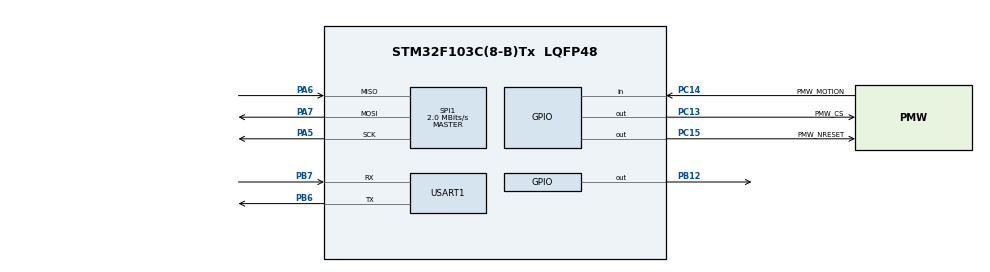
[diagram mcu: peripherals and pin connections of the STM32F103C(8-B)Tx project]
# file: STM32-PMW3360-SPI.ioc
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Dma.MEMTOMEM.0.Direction=DMA_MEMORY_TO_MEMORY
Dma.MEMTOMEM.0.Instance=DMA1_Channel1
Dma.MEMTOMEM.0.MemDataAlignment=DMA_MDATAALIGN_BYTE
Dma.MEMTOMEM.0.MemInc=DMA_MINC_ENABLE
Dma.MEMTOMEM.0.Mode=DMA_NORMAL
Dma.MEMTOMEM.0.PeriphDataAlignment=DMA_PDATAALIGN_BYTE
Dma.MEMTOMEM.0.PeriphInc=DMA_PINC_ENABLE
Dma.MEMTOMEM.0.Priority=DMA_PRIORITY_LOW
Dma.MEMTOMEM.1.Direction=DMA_MEMORY_TO_MEMORY
Dma.MEMTOMEM.1.Instance=DMA1_Channel2
Dma.MEMTOMEM.1.MemDataAlignment=DMA_MDATAALIGN_BYTE
Dma.MEMTOMEM.1.MemInc=DMA_MINC_ENABLE
Dma.MEMTOMEM.1.Mode=DMA_NORMAL
Dma.MEMTOMEM.1.PeriphDataAlignment=DMA_PDATAALIGN_BYTE
Dma.MEMTOMEM.1.PeriphInc=DMA_PINC_ENABLE
Dma.MEMTOMEM.1.Priority=DMA_PRIORITY_LOW
Dma.Request0=MEMTOMEM
Dma.Request1=MEMTOMEM
Mcu.Family=STM32F1
Mcu.Name=STM32F103C(8-B)Tx
Mcu.Package=LQFP48
NVIC.PriorityGroup=NVIC_PRIORITYGROUP_4
PA13.Mode=Trace_Asynchronous_SW
PA13.Signal=SYS_JTMS-SWDIO
PA14.Mode=Trace_Asynchronous_SW
PA14.Signal=SYS_JTCK-SWCLK
PA5.Mode=Full_Duplex_Master
PA5.Signal=SPI1_SCK
PA6.Mode=Full_Duplex_Master
PA6.Signal=SPI1_MISO
PA7.Mode=Full_Duplex_Master
PA7.Signal=SPI1_MOSI
PB12.Signal=GPIO_Output
PB3.Mode=Trace_Asynchronous_SW
PB3.Signal=SYS_JTDO-TRACESWO
PB6.Mode=Asynchronous
PB6.Signal=USART1_TX
PB7.Mode=Asynchronous
PB7.Signal=USART1_RX
PC13-TAMPER-RTC.GPIO_Label=PMW_CS
PC13-TAMPER-RTC.GPIO_ModeDefaultOutputPP=GPIO_MODE_OUTPUT_OD
PC13-TAMPER-RTC.GPIO_PuPd=GPIO_PULLUP
PC13-TAMPER-RTC.GPIO_Speed=GPIO_SPEED_FREQ_LOW
PC13-TAMPER-RTC.PinState=GPIO_PIN_SET
PC13-TAMPER-RTC.Signal=GPIO_Output
PC14-OSC32_IN.GPIO_Label=PMW_MOTION
PC14-OSC32_IN.Signal=GPIO_Input
PC15-OSC32_OUT.GPIO_Label=PMW_NRESET
PC15-OSC32_OUT.PinState=GPIO_PIN_SET
PC15-OSC32_OUT.Signal=GPIO_Output
PD0-OSC_IN.Mode=HSE-External-Oscillator
PD0-OSC_IN.Signal=RCC_OSC_IN
PD1-OSC_OUT.Mode=HSE-External-Oscillator
PD1-OSC_OUT.Signal=RCC_OSC_OUT
ProjectManager.HeapSize=0x200
ProjectManager.StackSize=0x400
ProjectManager.TargetToolchain=STM32CubeIDE
RCC.APB1Freq_Value=8000000
RCC.APB2Freq_Value=8000000
SPI1.BaudRatePrescaler=SPI_BAUDRATEPRESCALER_4
SPI1.CLKPhase=SPI_PHASE_2EDGE
SPI1.CLKPolarity=SPI_POLARITY_HIGH
SPI1.CalculateBaudRate=2.0 MBits/s
SPI1.Direction=SPI_DIRECTION_2LINES
SPI1.Mode=SPI_MODE_MASTER
SPI1.VirtualType=VM_MASTER
USART1.VirtualMode=VM_ASYNC
board=custom

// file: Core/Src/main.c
/* USER CODE BEGIN Header */
/**
  ******************************************************************************
  * @file           : main.c
  * @brief          : Main program body
  ******************************************************************************
  * @attention
  *
  * Copyright (c) 2023 STMicroelectronics.
  * All rights reserved.
  *
  * This software is licensed under terms that can be found in the LICENSE file
  * in the root directory of this software component.
  * If no LICENSE file comes with this software, it is provided AS-IS.
  *
  ******************************************************************************
  */
/* USER CODE END Header */
#include "main.h"
#include "dma.h"
#include "spi.h"
#include "usart.h"
#include "gpio.h"

/* USER CODE BEGIN Includes */
#include "stm32f1xx_hal.h"
#include "stm32f1xx_hal_spi.h"
#include "stm32f1xx_ll_spi.h"
#include "spi.h"
#include "usart.h"

#include <stdio.h>

#include "sensors/pmw3360.h"
#include "sensors/srom_3360_0x04.h"
/* USER CODE END Includes */

/* USER CODE BEGIN PD */

static void pmw3360_init(const uint8_t dpi);
static void angle_init(const uint8_t angle);
static inline void spi_write(const unsigned char addr, const unsigned char data);
static inline const unsigned char spi_read(const unsigned char addr);
unsigned char SPI_Send(unsigned char Txdata);
static uint8_t spi_transmit_receive(uint8_t data_in, uint8_t *data_out);
void HAL_Delay_us(__IO uint32_t delay_us);

#define SS_LOW HAL_GPIO_WritePin(PMW_CS_GPIO_Port, PMW_CS_Pin, GPIO_PIN_RESET);
#define SS_HIGH HAL_GPIO_WritePin(PMW_CS_GPIO_Port, PMW_CS_Pin, GPIO_PIN_SET);

#define CPI_Page_Address 0x08007000
#define Polling_Skip_Page_Address 0x08007400
/* USER CODE END PD */

/* USER CODE BEGIN PV */
static unsigned char old_profile;

// use this instead of bitshifts or LSB/MSB macros.
union motion_data
{
	int16_t sum;
	struct { uint8_t low, high; };
};
union motion_data x, y;
int8_t whl;

/* USER CODE END PV */

void SystemClock_Config(void);
/* USER CODE BEGIN PFP */

/**
  * @brief System Clock Configuration
  * @retval None
  */
void SystemClock_Config(void)
{
  RCC_OscInitTypeDef RCC_OscInitStruct = {0};
  RCC_ClkInitTypeDef RCC_ClkInitStruct = {0};

  /** Initializes the RCC Oscillators according to the specified parameters
  * in the RCC_OscInitTypeDef structure.
  */
  RCC_OscInitStruct.OscillatorType = RCC_OSCILLATORTYPE_HSI;
  RCC_OscInitStruct.HSIState = RCC_HSI_ON;
  RCC_OscInitStruct.HSICalibrationValue = RCC_HSICALIBRATION_DEFAULT;
  RCC_OscInitStruct.PLL.PLLState = RCC_PLL_NONE;
  if (HAL_RCC_OscConfig(&RCC_OscInitStruct) != HAL_OK)
  {
    Error_Handler();
  }

  /** Initializes the CPU, AHB and APB buses clocks
  */
  RCC_ClkInitStruct.ClockType = RCC_CLOCKTYPE_HCLK|RCC_CLOCKTYPE_SYSCLK
                              |RCC_CLOCKTYPE_PCLK1|RCC_CLOCKTYPE_PCLK2;
  RCC_ClkInitStruct.SYSCLKSource = RCC_SYSCLKSOURCE_HSI;
  RCC_ClkInitStruct.AHBCLKDivider = RCC_SYSCLK_DIV1;
  RCC_ClkInitStruct.APB1CLKDivider = RCC_HCLK_DIV1;
  RCC_ClkInitStruct.APB2CLKDivider = RCC_HCLK_DIV1;

  if (HAL_RCC_ClockConfig(&RCC_ClkInitStruct, FLASH_LATENCY_0) != HAL_OK)
  {
    Error_Handler();
  }
}

//SPI_HandleTypeDef hspi1; // for HAL SPI lib

/* USER CODE END PFP */

/* USER CODE BEGIN 0 */
void sensor_config(void) // Sensor Power-up configure
{
  // dpi settings CPI/CPI
	uint8_t dpi;

//	old_profile = ((*(__IO uint16_t*)(0x08007000)) < 0xFF) ? *(__IO uint16_t*)(0x08007000) : 0x01;
//	if (old_profile == 0x00)
		dpi = 0x03;// dpi = (1 + i) * 100
//	if (old_profile == 0x01)
//		dpi = 0x07;// dpi = (1 + i) * 100
//	if (old_profile == 0x02)
//		dpi = 0x0f;// dpi = (1 + i) * 100

  // Init 3360
  pmw3360_init(dpi);

  // Angle snapping settings // turn off thx.
  uint8_t angle_index = 0;
  uint8_t angles[] = {0x00, 0x80}; // Off, On
  // Init angle snapping
  angle_init(angles[angle_index]);
}

void burst_read(void)	// read sensor move
{
		union motion_data delta_x, delta_y;
		SS_LOW;// step 1: low NCS/SS/CS Signal
		SPI_Send(0x50); // step 2: send Motion regsiter addr: 0x50.
    HAL_Delay_us(35); //step 4: wait Tsard_motbr.

		// at here send any vule to sensor reg
		(void) SPI_Send(0x00); // motion, not used
		(void) SPI_Send(0x00); // observation, not used
//    int motion = (SPI_Send(0x00); & 0x80) > 0;
//    int surface = (SPI_Send(0x00); & 0x08) > 0;   // 0 if on surface / 1 if off surface

		delta_x.low=SPI_Send(0x00);
		delta_x.high=SPI_Send(0x00);
		delta_y.low=SPI_Send(0x00);
		delta_y.high=SPI_Send(0x00);

//    int squal = SPI_Send(0x00);
		SS_HIGH;
    HAL_Delay_us(1); // pulling high at lest 500ns

		x.sum += delta_x.sum;
		y.sum += delta_y.sum;

		printf("X: %5d.%5d - Y: %5d\n", delta_x.high, delta_x.low, delta_y);
}

uint8_t read_byte(uint8_t reg)
{
	// Enable Chip select
	SS_LOW;

	uint8_t wr_buffer = reg & 0x7f; // Cmd to send
	uint8_t rd_buffer;

	HAL_SPI_Transmit(&hspi1, &wr_buffer, 1, 1000);

	HAL_Delay_us(200);

	HAL_SPI_Receive(&hspi1, &rd_buffer, 1, 1000);

	HAL_Delay_us(120);

	// Disable Chip select
	SS_HIGH;
//	HAL_Delay(200);

	//	printf("Reading reg: 0x%02x - 0x%02x\n", reg, rd_buffer);
	return rd_buffer;
}

void write_byte(uint8_t reg, uint8_t data)
{
//	printf("Writing reg: 0x%02x - 0x%02x\n", reg, data);

	// Enable Chip select
	SS_LOW;

	uint8_t wr_buffer = reg | 0x80; // Cmd to send
	uint8_t data_buffer = data;

	HAL_SPI_Transmit(&hspi1, &wr_buffer, 1, 1000);
	HAL_SPI_Transmit(&hspi1, &data_buffer, 1, 1000);

	HAL_Delay_us(35);

	// Disable Chip select
	SS_HIGH;
//	HAL_Delay(200);
}

uint8_t test_spi_comms()
{
	uint8_t connected = 0;

	// Read IC ID
	uint8_t id = read_byte(REG_Product_ID);
	uint8_t rid = read_byte(REG_Revision_ID);

	printf("ID: 0x%02x\n", id);
	printf("rID: 0x%02x\n", rid);
	return id == 0x42;
}

void read_data()
{
	// Read IC ID
//	uint8_t id = read_byte(REG_Product_ID);
//	uint8_t rid = read_byte(REG_Revision_ID);
//	printf("ID: 0x%02x\n", id);
//	printf("rID: 0x%02x\n", rid);

	uint8_t motion = read_byte(REG_Motion);
//	printf("Motion: 0x%02x\n", motion);
//	uint8_t squal = read_byte(REG_SQUAL);
//	printf("SQUAL: 0x%02x\n", squal);

	if (motion & 0x80) // Motion detected
	{
		uint8_t delta_x_l = read_byte(REG_Delta_X_H);
		uint8_t delta_x_h = read_byte(REG_Delta_X_L);
		uint8_t delta_y_l = read_byte(REG_Delta_Y_H);
		uint8_t delta_y_h = read_byte(REG_Delta_Y_L);
		x.high = delta_x_h;
		x.low  = delta_x_l;
		y.high = delta_y_h;
		y.low  = delta_y_l;
//		printf("Motion detected: 0x%02x.%02x - 0x%02x.%02x\n", delta_x_h, delta_x_l, delta_y_h, delta_y_l);
//		printf("Motion detected: %d - %d\n", x.sum, y.sum);
	}
	else
	{
		x.sum = 0;
		y.sum = 0;
	}
}

void calc_position()
{
	static int32_t X_POS = 0, Y_POS = 0;

	X_POS += x.sum;
	Y_POS += y.sum;

	printf("Current POS: %5d - %5d\n", X_POS, Y_POS);
}
/* USER CODE END 0 */

int main(void)
{

  /* MCU Configuration--------------------------------------------------------*/

  /* Reset of all peripherals, Initializes the Flash interface and the Systick. */
  HAL_Init();

  /* Configure the system clock */
  SystemClock_Config();

  /* Initialize all configured peripherals */
  MX_DMA_Init();
  MX_GPIO_Init();
  MX_SPI1_Init();
  MX_USART1_UART_Init();
  /* USER CODE BEGIN 2 */
	printf("Testing download Mouse code!\n");

	uint8_t connection = test_spi_comms();
	printf("Has connection? %d\n", connection);
//	while(1);

	// PMW3360 Initial profile
	sensor_config();

	connection = test_spi_comms();
	printf("Has connection? %d\n", connection);

  /* USER CODE END 2 */

  /* Infinite loop */
  /* USER CODE BEGIN WHILE */
  while (1)
  {
	  write_byte(REG_Motion, 0x00);
//	  HAL_Delay(10);
	  read_data();

	  calc_position();
//	  HAL_Delay(10);
    /* USER CODE END WHILE */

  }
}

/* USER CODE BEGIN 4 */

/*************** PMW3360-DM Sensor Initialization ***************/

// dpi argument is what's written to register 0x0f
// actual dpi value = (dpi + 1) * 100
static void pmw3360_init(const uint8_t dpi)
{
  SS_HIGH;
  HAL_Delay(3);

  SS_LOW;
  spi_write(0x3b, 0xb6);
	SS_HIGH;
  HAL_Delay(300);  // when power up shut down 300ms

  // drop and raise ncs to reset spi port
  SS_LOW;
  HAL_Delay_us(40);
	SS_HIGH;
  HAL_Delay_us(40);

	// power up reset
  SS_LOW;
  spi_write(0x3a, 0x5a);
	SS_HIGH;
  HAL_Delay(50);

  // read from 0x02 to 0x06
  SS_LOW;
  spi_read(0x02); //Motion
  spi_read(0x03); //X_lo
  spi_read(0x04); //X_Hi
  spi_read(0x05); //Y_Lo
  spi_read(0x06); //Y_Hi

  // srom download
  spi_write(0x10, 0x00);
  spi_write(0x13, 0x1d);
  SS_HIGH;
  HAL_Delay(10);
  SS_LOW;
  spi_write(0x13, 0x18);

  SPI_Send(0x62 | 0x80);
  for (uint16_t i = 0; i < SROM_LENGTH; i++)
  {
    HAL_Delay_us(16);
    SPI_Send(srom[i]);
  }
  HAL_Delay_us(18);
  SS_HIGH;
  HAL_Delay_us(200);

  // configuration/settings
  SS_LOW;
  spi_write(0x10, 0x00); // Rest mode & independant X/Y CPI disabled
  spi_write(0x0d, 0x00); // Camera angle
  spi_write(0x11, 0x00); // Camera angle fine tuning
  spi_write(0x0f, dpi); // DPI
  // LOD Stuff
  spi_write(0x63, 0x03); // LOD: 0x00 disable lift detection, 0x02 = 2mm, 0x03 = 3mm
  spi_write(0x2b, 0x80); // Minimum SQUAL for zero motion data (default: 0x10)��max is 0x80
  spi_write(0x2c, 0x0a); // Minimum Valid features (reduce SQUAL score) (default: 0x0a)
  SS_HIGH;
  HAL_Delay_us(200);
}

// angle snapping
static void angle_init(const uint8_t angle)
{
  SS_LOW;
  spi_write(0x42, angle); // Angle snapping (Angle snap disabled. This is the default value.): 0x00 = off, 0x80 = on
  SS_HIGH;
}

void HAL_Delay_us(__IO uint32_t delay_us)
{
  uint32_t first_value = 0;
  uint32_t current_value = 0;
  uint32_t reload = SysTick ->LOAD;

  uint32_t nus_number = delay_us * ((reload + 1) / 1000);
  uint32_t change_number = 0;

  first_value = SysTick ->VAL;
  while (1)
  {
    current_value = SysTick ->VAL;
    if (current_value != first_value)
    {

      if (current_value < first_value)
      {
        change_number += first_value - current_value;
        //change_number = first_value - current_value + change_number;
      }

      else
      {
        change_number += reload - current_value + first_value;
      }
      first_value = current_value;
      if (change_number >= nus_number)
      {
        break;
      }
    }
  }
}

//SPI Read sensor.
static inline void spi_write(const unsigned char addr, const unsigned char data)
{
  SPI_Send(addr | 0x80);
  SPI_Send(data);
  HAL_Delay_us(180); // maximum of t_SWW, t_SWR
}

static inline  const unsigned char spi_read(const unsigned char addr)
{
  SPI_Send(addr);
	HAL_Delay_us(160); // t_SRAD
  uint8_t data = SPI_Send(0x00);
  HAL_Delay_us(20);
  return data;
}

// SPI latency depends on your circuit layout and code.
unsigned char SPI_Send(unsigned char Txdata)
{
	/*
	1. Data into Buffer.
	1. Transmit data to PMW3360.
	2. Return Receive data from Inbox.
	*/

	uint8_t Rxdata;
	spi_transmit_receive(Txdata,&Rxdata);
//	Rxdata = SPI1_ReadWriteByte(Txdata);
	return Rxdata;
}
// data_in:data for transfer
// data_out: receive data
static uint8_t spi_transmit_receive(uint8_t data_in, uint8_t *data_out)
{
	uint32_t timeout_cnt;

	// Wait until TXE flag is set to send data
	timeout_cnt = 0;
	static const uint32_t timeout_cnt_num_send = 100;
	// Tx buffer not empty set 0;

	while(!LL_SPI_IsActiveFlag_TXE(SPI1))	//Tx�ǿգ�������
	{
		timeout_cnt ++;
		// Tx buffer empty set 1;
		if((timeout_cnt > timeout_cnt_num_send)||(LL_SPI_IsActiveFlag_TXE(SPI1)))	//Tx�գ�������
		{
			break;
		}
	}

	// Transmit data in 8 Bit mode
	LL_SPI_TransmitData8(SPI1, data_in);

	// Check BSY flag
	timeout_cnt = 0;
	static const uint32_t timeout_cnt_num_busy = 50;

	// SPI_Busy set 1
	while(LL_SPI_IsActiveFlag_BSY(SPI1))	// SPI_Busy
	{
		timeout_cnt ++;
        // SPI_Not_Busy set 0
		if((timeout_cnt > timeout_cnt_num_busy)||(!LL_SPI_IsActiveFlag_BSY(SPI1))) // SPI_Not_Busy
		{
			break;
		}
	}

	// Check RXNE flag
	timeout_cnt = 0;
	static const uint32_t timeout_cnt_num_recv = 200;

    // Rx buffer empty, set 0;
	while(!LL_SPI_IsActiveFlag_RXNE(SPI1))
	{
		timeout_cnt ++;
		// Rx buffer not empty set 1;
		if((timeout_cnt > timeout_cnt_num_recv)||(LL_SPI_IsActiveFlag_RXNE(SPI1)))//Rx�ǿ�
		{
			break;
		}
	}

	// Read 8-Bits in the data register
	*data_out = LL_SPI_ReceiveData8(SPI1);

	return *data_out;
}
uint8_t SPI1_ReadWriteByte(uint8_t TxData)  //
{
	uint8_t retry = 0;

	/* Check if Tx buffer is empty */
	while (!LL_SPI_IsActiveFlag_TXE(SPI1))
	{
		retry++;
		if(retry > 200)
			continue;
	}

	/* Write character in Data register.
	TXE flag is cleared by reading data in DR register */
	LL_SPI_TransmitData8(SPI1, TxData);
	retry = 0;

	/* Check if Rx buffer is not empty */
	while (!LL_SPI_IsActiveFlag_RXNE(SPI1))
	{
		retry++;
		if(retry > 200) continue;
	}

	/* received byte from SPI lines. */
	return LL_SPI_ReceiveData8(SPI1);
}
/* USER CODE END 4 */

void Error_Handler(void)
{
  __disable_irq();
  while (1)
  {
  }
}
